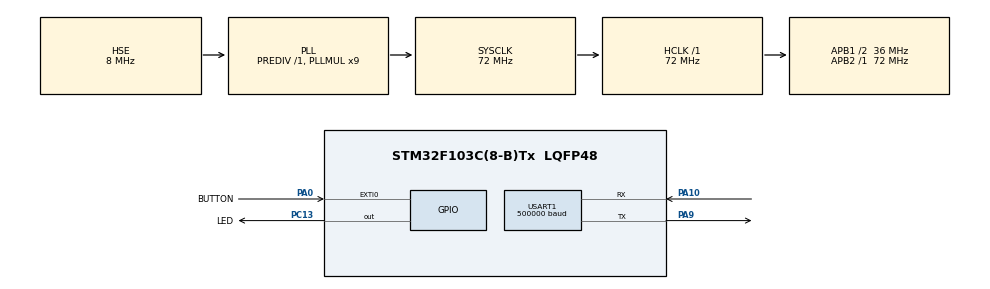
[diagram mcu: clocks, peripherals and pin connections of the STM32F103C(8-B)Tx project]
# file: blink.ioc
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Mcu.Family=STM32F1
Mcu.Name=STM32F103C(8-B)Tx
Mcu.Package=LQFP48
NVIC.PriorityGroup=NVIC_PRIORITYGROUP_4
PA0-WKUP.GPIO_Label=BUTTON
PA0-WKUP.GPIO_ModeDefaultEXTI=GPIO_MODE_IT_RISING_FALLING
PA0-WKUP.GPIO_PuPd=GPIO_PULLUP
PA0-WKUP.Signal=GPXTI0
PA10.Mode=Asynchronous
PA10.Signal=USART1_RX
PA13.Mode=Serial_Wire
PA13.Signal=SYS_JTMS-SWDIO
PA14.Mode=Serial_Wire
PA14.Signal=SYS_JTCK-SWCLK
PA9.Mode=Asynchronous
PA9.Signal=USART1_TX
PC13-TAMPER-RTC.GPIO_Label=LED
PC13-TAMPER-RTC.GPIO_ModeDefaultOutputPP=GPIO_MODE_OUTPUT_OD
PC13-TAMPER-RTC.GPIO_PuPd=GPIO_NOPULL
PC13-TAMPER-RTC.PinState=GPIO_PIN_SET
PC13-TAMPER-RTC.Signal=GPIO_Output
PD0-OSC_IN.Mode=HSE-External-Oscillator
PD0-OSC_IN.Signal=RCC_OSC_IN
PD1-OSC_OUT.Mode=HSE-External-Oscillator
PD1-OSC_OUT.Signal=RCC_OSC_OUT
ProjectManager.HeapSize=0x200
ProjectManager.StackSize=0x400
ProjectManager.TargetToolchain=STM32CubeIDE
RCC.AHBFreq_Value=72000000
RCC.APB1CLKDivider=RCC_HCLK_DIV2
RCC.APB1Freq_Value=36000000
RCC.APB1TimFreq_Value=72000000
RCC.APB2Freq_Value=72000000
RCC.APB2TimFreq_Value=72000000
RCC.HCLKFreq_Value=72000000
RCC.PLLMUL=RCC_PLL_MUL9
RCC.PLLSourceVirtual=RCC_PLLSOURCE_HSE
RCC.SYSCLKFreq_VALUE=72000000
RCC.SYSCLKSource=RCC_SYSCLKSOURCE_PLLCLK
RCC.USBFreq_Value=72000000
USART1.BaudRate=500000
USART1.VirtualMode=VM_ASYNC
board=custom

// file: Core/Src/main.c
/* USER CODE BEGIN Header */
/**
  ******************************************************************************
  * @file           : main.c
  * @brief          : Main program body
  ******************************************************************************
  * @attention
  *
  * Copyright (c) 2025 STMicroelectronics.
  * All rights reserved.
  *
  * This software is licensed under terms that can be found in the LICENSE file
  * in the root directory of this software component.
  * If no LICENSE file comes with this software, it is provided AS-IS.
  *
  ******************************************************************************
  */
/* USER CODE END Header */
#include "main.h"

/* USER CODE BEGIN Includes */
#include <stdio.h>
/* USER CODE END Includes */

UART_HandleTypeDef huart1;

void SystemClock_Config(void);
static void MX_GPIO_Init(void);
static void MX_USART1_UART_Init(void);

/* USER CODE BEGIN 0 */
// Send printf to uart1
int _write(int fd, char* ptr, int len) {
  HAL_StatusTypeDef hstatus;

  if (fd == 1 || fd == 2) {
    hstatus = HAL_UART_Transmit(&huart1, (uint8_t *) ptr, len, HAL_MAX_DELAY);
    if (hstatus == HAL_OK)
      return len;
    else
      return -1;
  }
  return -1;
}
/* USER CODE END 0 */

int main(void)
{

  /* MCU Configuration--------------------------------------------------------*/

  /* Reset of all peripherals, Initializes the Flash interface and the Systick. */
  HAL_Init();

  /* Configure the system clock */
  SystemClock_Config();

  /* Initialize all configured peripherals */
  MX_GPIO_Init();
  MX_USART1_UART_Init();
  /* USER CODE BEGIN 2 */
  printf("First application starting\n");
  /* USER CODE END 2 */

  /* Infinite loop */
  /* USER CODE BEGIN WHILE */
  uint32_t now = 0;
  uint32_t last_print = 0;
  while (1)
  {
      now = HAL_GetTick();
      if (1000 <= now - last_print) {
          printf("loop %lu\n", now);
          last_print = now;
      }

      HAL_Delay(1000);
    /* USER CODE END WHILE */

  }
}

void SystemClock_Config(void)
{
  RCC_OscInitTypeDef RCC_OscInitStruct = {0};
  RCC_ClkInitTypeDef RCC_ClkInitStruct = {0};

  /** Initializes the RCC Oscillators according to the specified parameters
  * in the RCC_OscInitTypeDef structure.
  */
  RCC_OscInitStruct.OscillatorType = RCC_OSCILLATORTYPE_HSE;
  RCC_OscInitStruct.HSEState = RCC_HSE_ON;
  RCC_OscInitStruct.HSEPredivValue = RCC_HSE_PREDIV_DIV1;
  RCC_OscInitStruct.HSIState = RCC_HSI_ON;
  RCC_OscInitStruct.PLL.PLLState = RCC_PLL_ON;
  RCC_OscInitStruct.PLL.PLLSource = RCC_PLLSOURCE_HSE;
  RCC_OscInitStruct.PLL.PLLMUL = RCC_PLL_MUL9;
  if (HAL_RCC_OscConfig(&RCC_OscInitStruct) != HAL_OK)
  {
    Error_Handler();
  }

  /** Initializes the CPU, AHB and APB buses clocks
  */
  RCC_ClkInitStruct.ClockType = RCC_CLOCKTYPE_HCLK|RCC_CLOCKTYPE_SYSCLK
                              |RCC_CLOCKTYPE_PCLK1|RCC_CLOCKTYPE_PCLK2;
  RCC_ClkInitStruct.SYSCLKSource = RCC_SYSCLKSOURCE_PLLCLK;
  RCC_ClkInitStruct.AHBCLKDivider = RCC_SYSCLK_DIV1;
  RCC_ClkInitStruct.APB1CLKDivider = RCC_HCLK_DIV2;
  RCC_ClkInitStruct.APB2CLKDivider = RCC_HCLK_DIV1;

  if (HAL_RCC_ClockConfig(&RCC_ClkInitStruct, FLASH_LATENCY_2) != HAL_OK)
  {
    Error_Handler();
  }
}

static void MX_USART1_UART_Init(void)
{

  huart1.Instance = USART1;
  huart1.Init.BaudRate = 500000;
  huart1.Init.WordLength = UART_WORDLENGTH_8B;
  huart1.Init.StopBits = UART_STOPBITS_1;
  huart1.Init.Parity = UART_PARITY_NONE;
  huart1.Init.Mode = UART_MODE_TX_RX;
  huart1.Init.HwFlowCtl = UART_HWCONTROL_NONE;
  huart1.Init.OverSampling = UART_OVERSAMPLING_16;
  if (HAL_UART_Init(&huart1) != HAL_OK)
  {
    Error_Handler();
  }

}

static void MX_GPIO_Init(void)
{
  GPIO_InitTypeDef GPIO_InitStruct = {0};

  /* GPIO Ports Clock Enable */
  __HAL_RCC_GPIOC_CLK_ENABLE();
  __HAL_RCC_GPIOD_CLK_ENABLE();
  __HAL_RCC_GPIOA_CLK_ENABLE();

  /*Configure GPIO pin Output Level */
  HAL_GPIO_WritePin(LED_GPIO_Port, LED_Pin, GPIO_PIN_SET);

  /*Configure GPIO pin : LED_Pin */
  GPIO_InitStruct.Pin = LED_Pin;
  GPIO_InitStruct.Mode = GPIO_MODE_OUTPUT_OD;
  GPIO_InitStruct.Pull = GPIO_NOPULL;
  GPIO_InitStruct.Speed = GPIO_SPEED_FREQ_LOW;
  HAL_GPIO_Init(LED_GPIO_Port, &GPIO_InitStruct);

  /*Configure GPIO pin : BUTTON_Pin */
  GPIO_InitStruct.Pin = BUTTON_Pin;
  GPIO_InitStruct.Mode = GPIO_MODE_IT_RISING_FALLING;
  GPIO_InitStruct.Pull = GPIO_PULLUP;
  HAL_GPIO_Init(BUTTON_GPIO_Port, &GPIO_InitStruct);

}

void Error_Handler(void)
{
  __disable_irq();
  while (1)
  {
  }
}
